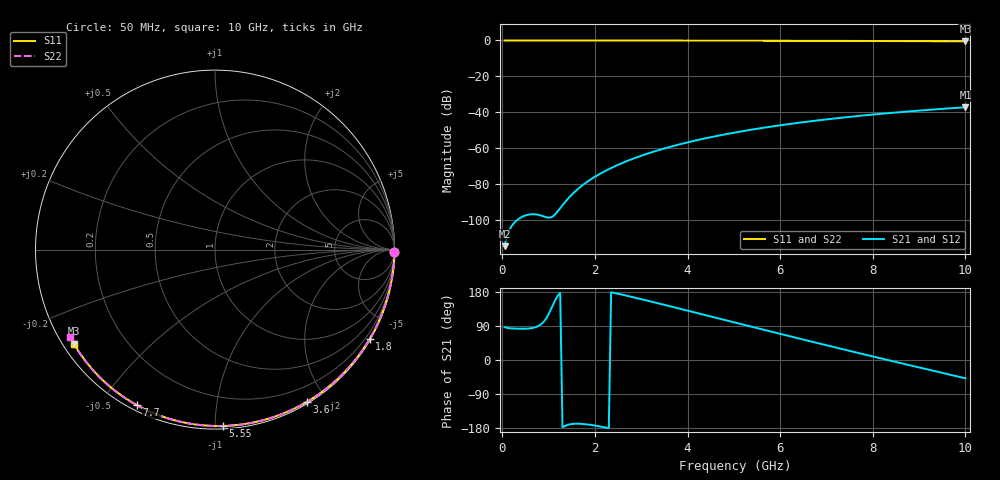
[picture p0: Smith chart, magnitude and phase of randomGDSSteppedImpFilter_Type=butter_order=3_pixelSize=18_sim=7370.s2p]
! freq	dB(S11)	phase(S11)	dB(S12)	phase(S12)
!  dB(S21)	phase(S21)	dB(S22)	phase(S22)
!S-par simulation data
#  GHz  S  DB  R 50
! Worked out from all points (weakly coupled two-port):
!   200 points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, 50 MHz to 10 GHz, reference 50 ohm
!   highest |S21| = -37.25 dB at 10 GHz (marker M1); lowest = -114.7 dB at 50 MHz (marker M2)
!   lowest |S11| = -0.5 dB at 10 GHz (marker M3), VSWR 35.18, Z = 1.55 - j15.1 ohm
!   |S11| at or under -10 dB: nowhere
!   |S22| runs from -0.5 to 0.0 dB; largest |S21 - S12| = 0
!   S11 on the Smith chart (normalised r, x): 50 MHz: open; 1.8 GHz: 0.03, -3.71; 3.6 GHz: 0.02, -1.78; 5.55 GHz: 0.02, -1.05; 7.7 GHz: 0.02, -0.62; 10 GHz: 0.03, -0.30
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0.05  -0.00 -0.9  -114.68 86.8  -114.68 86.8  -0.00 -0.9
0.45  -0.01 -7.7  -98.05 82.4  -98.05 82.4  -0.01 -7.8
0.9  -0.02 -15.2  -98.14 101.6  -98.14 101.6  -0.02 -15.5
1.3  -0.03 -21.9  -91.82 -177.8  -91.82 -177.8  -0.03 -22.2
1.75  -0.04 -29.3  -80.36 -168.9  -80.36 -168.9  -0.04 -29.8
1.8  -0.04 -30.1  -79.40 -169.5  -79.40 -169.5  -0.04 -30.6
1.95  -0.04 -32.6  -76.79 -172.0  -76.79 -172.0  -0.04 -33.1
2.1  -0.04 -35.0  -74.48 -175.1  -74.48 -175.1  -0.05 -35.6
2.3  -0.05 -38.3  -71.75 -179.9  -71.75 -179.9  -0.05 -38.8
2.5  -0.05 -41.5  -69.33 174.8  -69.33 174.8  -0.05 -42.1
2.9  -0.06 -47.8  -65.19 163.5  -65.19 163.5  -0.06 -48.6
3.4  -0.07 -55.7  -60.95 148.6  -60.95 148.6  -0.08 -56.5
3.6  -0.08 -58.8  -59.48 142.5  -59.48 142.5  -0.08 -59.6
4.3  -0.10 -69.3  -55.04 121.1  -55.04 121.1  -0.10 -70.4
5.05  -0.12 -80.3  -51.20 98.0  -51.20 98.0  -0.13 -81.5
5.55  -0.14 -87.5  -49.03 82.7  -49.03 82.7  -0.15 -88.8
6.1  -0.17 -95.1  -46.93 66.0  -46.93 66.0  -0.17 -96.6
6.7  -0.20 -103.3  -44.92 47.9  -44.92 47.9  -0.20 -104.9
7.7  -0.27 -116.6  -42.07 18.2  -42.07 18.2  -0.27 -118.4
8.35  -0.32 -125.0  -40.49 -0.9  -40.49 -0.9  -0.33 -127.0
9.2  -0.40 -136.0  -38.70 -25.4  -38.70 -25.4  -0.41 -138.2
10  -0.49 -146.3  -37.25 -48.3  -37.25 -48.3  -0.50 -148.8
